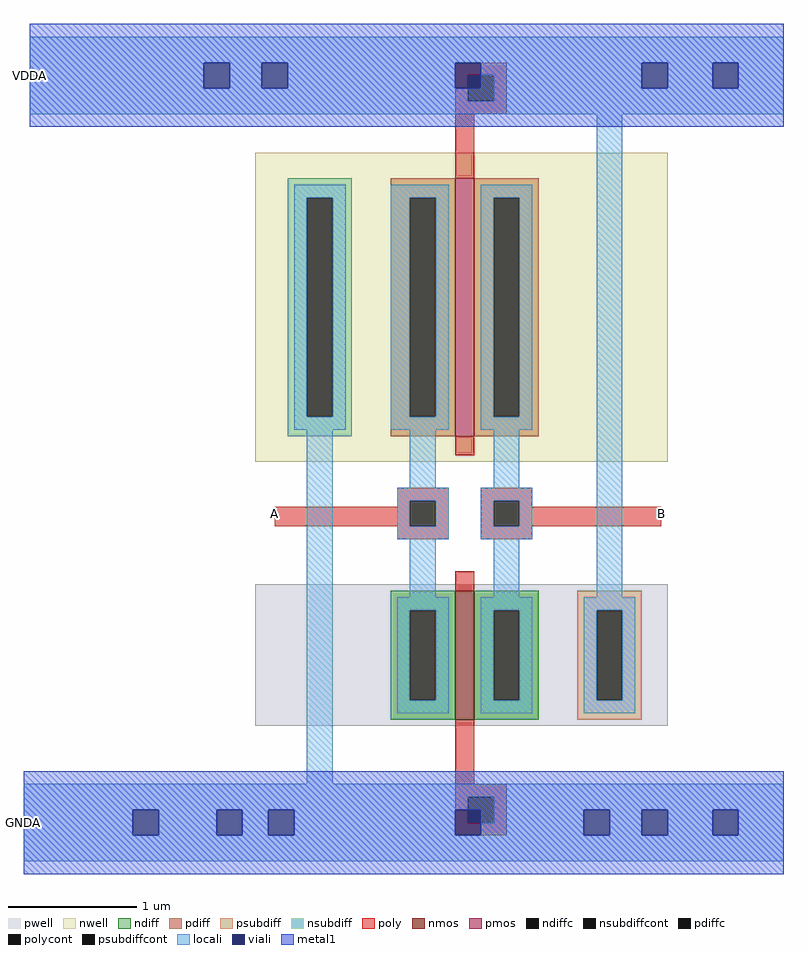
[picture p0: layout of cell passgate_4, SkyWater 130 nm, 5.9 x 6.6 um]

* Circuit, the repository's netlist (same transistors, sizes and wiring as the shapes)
* NGSPICE file created from passgate_4.ext - technology: sky130A

.subckt passgate_4
X0 B GNDA A VDDA sky130_fd_pr__nfet_01v8 ad=0.5 pd=3 as=0.5 ps=3 w=1 l=0.15
X1 B VDDA A GNDA sky130_fd_pr__pfet_01v8 ad=1 pd=5 as=1 ps=5 w=2 l=0.15
.ends

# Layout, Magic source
magic
tech sky130A
<< nwell >>
rect -5 190 315 430
<< pwell >>
rect -5 -15 315 95
<< nmos >>
rect 150 -10 165 90
<< pmos >>
rect 150 210 165 410
<< ndiff >>
rect 100 75 150 90
rect 100 5 115 75
rect 135 5 150 75
rect 100 -10 150 5
rect 165 75 215 90
rect 165 5 180 75
rect 200 5 215 75
rect 165 -10 215 5
<< pdiff >>
rect 100 395 150 410
rect 100 225 115 395
rect 135 225 150 395
rect 100 210 150 225
rect 165 395 215 410
rect 165 225 180 395
rect 200 225 215 395
rect 165 210 215 225
<< ndiffc >>
rect 115 5 135 75
rect 180 5 200 75
<< pdiffc >>
rect 115 225 135 395
rect 180 225 200 395
<< psubdiff >>
rect 245 75 295 90
rect 245 5 260 75
rect 280 5 295 75
rect 245 -10 295 5
<< nsubdiff >>
rect 20 395 70 410
rect 20 225 35 395
rect 55 225 70 395
rect 20 210 70 225
<< psubdiffcont >>
rect 260 5 280 75
<< nsubdiffcont >>
rect 35 225 55 395
<< poly >>
rect 150 490 190 500
rect 150 470 160 490
rect 180 470 190 490
rect 150 460 190 470
rect 150 410 165 460
rect 150 195 165 210
rect 105 160 145 170
rect 105 155 115 160
rect 10 140 115 155
rect 135 140 145 160
rect 105 130 145 140
rect 170 160 210 170
rect 170 140 180 160
rect 200 155 210 160
rect 200 140 310 155
rect 170 130 210 140
rect 150 90 165 105
rect 150 -60 165 -10
rect 150 -70 190 -60
rect 150 -90 160 -70
rect 180 -90 190 -70
rect 150 -100 190 -90
<< polycont >>
rect 160 470 180 490
rect 115 140 135 160
rect 180 140 200 160
rect 160 -90 180 -70
<< locali >>
rect -180 500 405 520
rect -180 480 -45 500
rect -25 480 0 500
rect 20 480 150 500
rect 170 490 295 500
rect 180 480 295 490
rect 315 480 350 500
rect 370 480 405 500
rect -180 470 160 480
rect 180 470 405 480
rect -180 460 405 470
rect 25 395 65 405
rect 25 225 35 395
rect 55 225 65 395
rect 25 215 65 225
rect 100 395 145 405
rect 100 225 115 395
rect 135 225 145 395
rect 100 215 145 225
rect 170 395 210 405
rect 170 225 180 395
rect 200 225 210 395
rect 170 215 210 225
rect 35 -60 55 215
rect 115 170 135 215
rect 180 170 200 215
rect 105 160 145 170
rect 105 140 115 160
rect 135 140 145 160
rect 105 130 145 140
rect 170 160 210 170
rect 170 140 180 160
rect 200 140 210 160
rect 170 130 210 140
rect 115 85 135 130
rect 180 85 200 130
rect 260 85 280 460
rect 105 75 145 85
rect 105 5 115 75
rect 135 5 145 75
rect 105 -5 145 5
rect 170 75 210 85
rect 170 5 180 75
rect 200 5 210 75
rect 170 -5 210 5
rect 250 75 290 85
rect 250 5 260 75
rect 280 5 290 75
rect 250 -5 290 5
rect -185 -70 405 -60
rect -185 -80 160 -70
rect 180 -80 405 -70
rect -185 -100 -100 -80
rect -80 -100 -35 -80
rect -15 -100 5 -80
rect 25 -100 150 -80
rect 180 -90 250 -80
rect 170 -100 250 -90
rect 270 -100 295 -80
rect 315 -100 350 -80
rect 370 -100 405 -80
rect -185 -120 405 -100
<< viali >>
rect -45 480 -25 500
rect 0 480 20 500
rect 150 490 170 500
rect 150 480 160 490
rect 160 480 170 490
rect 295 480 315 500
rect 350 480 370 500
rect -100 -100 -80 -80
rect -35 -100 -15 -80
rect 5 -100 25 -80
rect 150 -90 160 -80
rect 160 -90 170 -80
rect 150 -100 170 -90
rect 250 -100 270 -80
rect 295 -100 315 -80
rect 350 -100 370 -80
<< metal1 >>
rect -180 500 405 530
rect -180 480 -45 500
rect -25 480 0 500
rect 20 480 150 500
rect 170 480 295 500
rect 315 480 350 500
rect 370 480 405 500
rect -180 450 405 480
rect -185 -80 405 -50
rect -185 -100 -100 -80
rect -80 -100 -35 -80
rect -15 -100 5 -80
rect 25 -100 150 -80
rect 170 -100 250 -80
rect 270 -100 295 -80
rect 315 -100 350 -80
rect 370 -100 405 -80
rect -185 -130 405 -100
<< labels >>
flabel metal1 -185 -90 -185 -90 7 FreeSans 400 0 -80 0 GNDA
flabel metal1 -180 490 -180 490 7 FreeSans 400 0 -80 0 VDDA
flabel poly 10 150 10 150 7 FreeSans 400 0 -80 0 A
flabel poly 310 150 310 150 3 FreeSans 400 0 80 0 B
<< end >>
